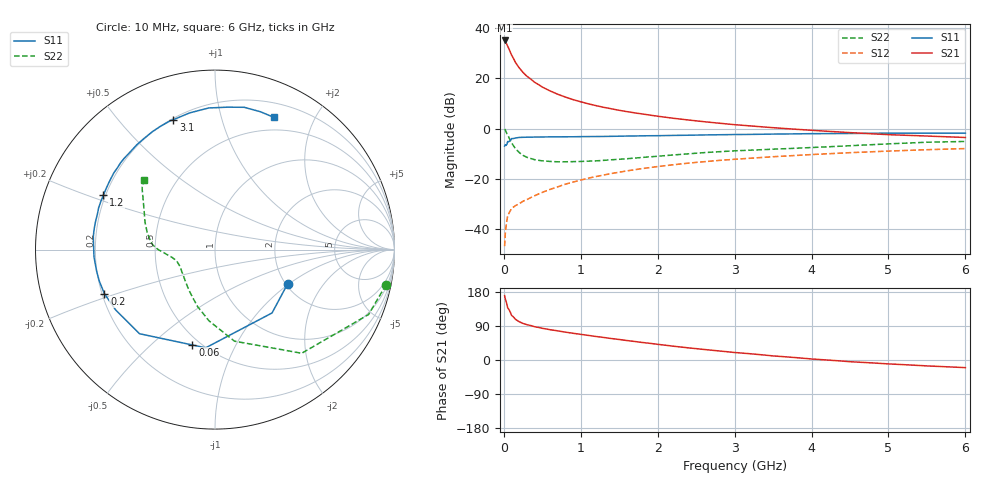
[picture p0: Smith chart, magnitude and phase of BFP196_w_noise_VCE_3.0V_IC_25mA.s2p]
! Infineon Technologies  Discrete & RF Semiconductors
! BFP196
! VCE =  3.0 V,  IC =  25 mA
! Common Emitter S-Parameters:  Jan 2017
# GHz  S  MA  R  50
!  f  S11  S21  S12  S22
! GHz  MAG  ANG  MAG  ANG  MAG  ANG  MAG  ANG
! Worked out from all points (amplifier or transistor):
!   77 points, 10 MHz to 6 GHz, reference 50 ohm
!   highest |S21| = 35.1 dB at 10 MHz (marker M1)
!   |S21| within 3 dB of that: start of sweep to 61.07 MHz
!   unconditionally stable (mu >= 1): 686.4 MHz to 2.47 GHz
!   at 130 MHz: K = 0.45, MSG = 29.5 dB, |S12| = -31.2 dB
!   at 2.2 GHz: K = 1.02, MAG = 8.5 dB, |S12| = -14.5 dB
!   at 6 GHz: K = 0.95, MSG = 2.2 dB, |S12| = -8.0 dB
!   lowest NFmin = 1.15 dB at 450 MHz
!   S11 on the Smith chart (normalised r, x): 10 MHz: 2.05, -0.97; 60 MHz: 0.45, -0.69; 200 MHz: 0.21, -0.18; 1.2 GHz: 0.19, +0.22; 3.1 GHz: 0.21, +0.71; 6 GHz: 0.35, +1.48
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0.01  0.4474 -25.1  57.03 169.9  0.0045 85.2  0.9731 -11.6
0.02  0.475 -48.0  55.7 160.5  0.0086 78.1  0.929 -22.9
0.05  0.5496 -95.4  43.99 138.0  0.0181 58.9  0.753 -50.1
0.06  0.5461 -103.3  40.73 135.1  0.0195 56.5  0.6963 -54.1
0.1  0.6297 -131.9  29.24 117.7  0.0252 49.4  0.5216 -78.0
0.15  0.6475 -148.7  20.93 107.5  0.0289 44.9  0.3978 -94.9
0.2  0.6633 -158.2  16.19 101.0  0.0316 46.5  0.3318 -107.0
0.25  0.6681 -164.8  13.12 96.4  0.0355 48.3  0.2912 -115.9
0.3  0.6704 -169.6  11.02 93.2  0.0382 50.3  0.2665 -123.5
0.4  0.6754 -176.5  8.364 87.8  0.0456 54.2  0.2391 -134.2
0.5  0.6769 178.1  6.712 83.7  0.0532 56.5  0.2264 -142.0
0.6  0.6819 173.8  5.626 80.0  0.061 58.3  0.2206 -147.9
0.7  0.683 170.2  4.828 76.9  0.0685 59.3  0.2167 -152.4
0.9  0.6842 163.3  3.766 70.5  0.0854 59.9  0.2185 -158.5
1.1  0.6903 157.1  3.107 64.9  0.1022 59.4  0.2233 -163.2
1.2  0.6919 154.0  2.854 62.0  0.1103 58.9  0.2264 -165.0
1.6  0.7074 142.8  2.172 51.4  0.1429 55.6  0.2494 -170.9
2.1  0.7231 129.4  1.679 39.0  0.1815 50.0  0.288 -176.9
3.1  0.7601 107.8  1.16 18.2  0.2492 37.6  0.3639 172.0
4.1  0.7901 91.0  0.901 1.4  0.3075 25.9  0.424 157.2
5.1  0.8084 77.1  0.744 -11.3  0.3592 14.4  0.5014 143.3
6  0.8065 65.9  0.662 -20.2  0.3982 4.3  0.552 135.6
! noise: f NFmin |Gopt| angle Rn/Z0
0.45  1.15  0.34  164  0.05
0.9  1.34  0.45  -176  0.06
1.9  2.21  0.68  -136  0.24
2.4  2.64  0.71  -122  0.59
